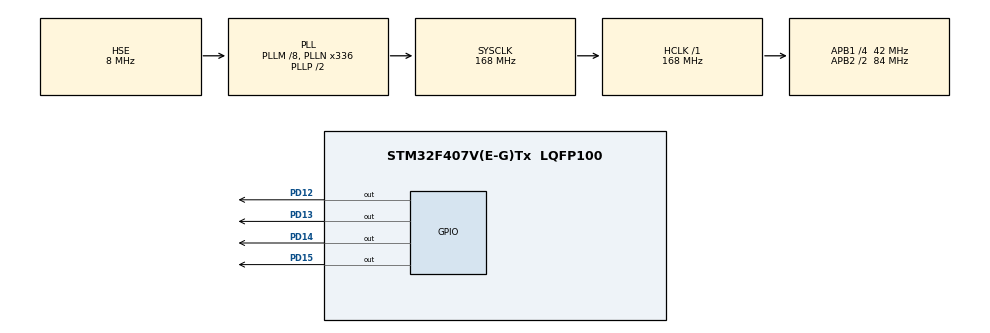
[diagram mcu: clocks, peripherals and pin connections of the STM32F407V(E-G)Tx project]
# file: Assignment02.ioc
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FREERTOS.Tasks01=defaultTask,-3,128,StartDefaultTask,Default,NULL,Dynamic,NULL,NULL
FREERTOS.configUSE_NEWLIB_REENTRANT=1
Mcu.Family=STM32F4
Mcu.Name=STM32F407V(E-G)Tx
Mcu.Package=LQFP100
NVIC.PriorityGroup=NVIC_PRIORITYGROUP_4
NVIC.TIM1_UP_TIM10_IRQn=true\:15\:0\:false\:false\:true\:false\:false\:true\:true
NVIC.TimeBase=TIM1_UP_TIM10_IRQn
NVIC.TimeBaseIP=TIM1
PD12.Signal=GPIO_Output
PD13.Signal=GPIO_Output
PD14.Signal=GPIO_Output
PD15.Signal=GPIO_Output
ProjectManager.HeapSize=0x200
ProjectManager.StackSize=0x400
ProjectManager.TargetToolchain=STM32CubeIDE
RCC.48MHZClocksFreq_Value=48000000
RCC.AHBFreq_Value=168000000
RCC.APB1CLKDivider=RCC_HCLK_DIV4
RCC.APB1Freq_Value=42000000
RCC.APB1TimFreq_Value=84000000
RCC.APB2CLKDivider=RCC_HCLK_DIV2
RCC.APB2Freq_Value=84000000
RCC.APB2TimFreq_Value=168000000
RCC.CortexFreq_Value=168000000
RCC.HCLKFreq_Value=168000000
RCC.HSE_VALUE=8000000
RCC.HSI_VALUE=16000000
RCC.LSE_VALUE=32768
RCC.PLLM=8
RCC.PLLN=336
RCC.PLLQ=7
RCC.PLLSourceVirtual=RCC_PLLSOURCE_HSE
RCC.SYSCLKFreq_VALUE=168000000
RCC.SYSCLKSource=RCC_SYSCLKSOURCE_PLLCLK
RCC.VCOOutputFreq_Value=336000000
VP_FREERTOS_VS_CMSIS_V1.Mode=CMSIS_V1
VP_SYS_VS_tim1.Mode=TIM1
board=STM32F407G-DISC1

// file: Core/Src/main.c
/* USER CODE BEGIN Header */
/**
  ******************************************************************************
  * @file           : main.c
  * @brief          : Main program body
  ******************************************************************************
  * @attention
  *
  * Copyright (c) 2024 STMicroelectronics.
  * All rights reserved.
  *
  * This software is licensed under terms that can be found in the LICENSE file
  * in the root directory of this software component.
  * If no LICENSE file comes with this software, it is provided AS-IS.
  *
  ******************************************************************************
  */
/* USER CODE END Header */
#include "main.h"
#include "cmsis_os.h"

/* USER CODE BEGIN Includes */
#include "task.h"
/* USER CODE END Includes */

osThreadId defaultTaskHandle;

void SystemClock_Config(void);
static void MX_GPIO_Init(void);
void StartDefaultTask(void const * argument);

/* USER CODE BEGIN 0 */
void vAperiodicLEDTask(void *pvParam)
{
	uint16_t pin=(uint16_t)pvParam;
	while(1)
	{
		HAL_GPIO_TogglePin(GPIOD,pin);
		vTaskDelay(1000 / portTICK_RATE_MS);
	}
	vTaskDelete(NULL);
}

/* USER CODE END 0 */

int main(void)
{

  /* USER CODE BEGIN 1 */
	BaseType_t ret;
  /* USER CODE END 1 */

  /* MCU Configuration--------------------------------------------------------*/

  /* Reset of all peripherals, Initializes the Flash interface and the Systick. */
  HAL_Init();

  /* Configure the system clock */
  SystemClock_Config();

  /* Initialize all configured peripherals */
  MX_GPIO_Init();
  /* USER CODE BEGIN 2 */
  ret = xTaskCreate(vAperiodicLEDTask, "AperiodicLED", configMINIMAL_STACK_SIZE,(void*)GPIO_PIN_12, 1, NULL);
  if(ret != pdTRUE)
	  Error_Handler();

  ret = xTaskCreate(vAperiodicLEDTask, "AperiodicLED", configMINIMAL_STACK_SIZE,(void*)GPIO_PIN_13, 2, NULL);
  if(ret != pdTRUE)
	  Error_Handler();

  ret = xTaskCreate(vAperiodicLEDTask, "AperiodicLED", configMINIMAL_STACK_SIZE,(void*)GPIO_PIN_14, 3, NULL);
  if(ret != pdTRUE)
       Error_Handler();

  ret = xTaskCreate(vAperiodicLEDTask, "AperiodicLED", configMINIMAL_STACK_SIZE, (void*)GPIO_PIN_15, 4, NULL);
  if(ret != pdTRUE)
	  Error_Handler();
  /* USER CODE END 2 */

  /* Create the thread(s) */
  /* definition and creation of defaultTask */
  osThreadDef(defaultTask, StartDefaultTask, osPriorityIdle, 0, 128);
  defaultTaskHandle = osThreadCreate(osThread(defaultTask), NULL);

  /* Start scheduler */
  osKernelStart();

  /* We should never get here as control is now taken by the scheduler */

  /* Infinite loop */
  while (1)
  {

  }
}

void SystemClock_Config(void)
{
  RCC_OscInitTypeDef RCC_OscInitStruct = {0};
  RCC_ClkInitTypeDef RCC_ClkInitStruct = {0};

  /** Configure the main internal regulator output voltage
  */
  __HAL_RCC_PWR_CLK_ENABLE();
  __HAL_PWR_VOLTAGESCALING_CONFIG(PWR_REGULATOR_VOLTAGE_SCALE1);

  /** Initializes the RCC Oscillators according to the specified parameters
  * in the RCC_OscInitTypeDef structure.
  */
  RCC_OscInitStruct.OscillatorType = RCC_OSCILLATORTYPE_HSE;
  RCC_OscInitStruct.HSEState = RCC_HSE_OFF;
  RCC_OscInitStruct.PLL.PLLState = RCC_PLL_ON;
  RCC_OscInitStruct.PLL.PLLSource = RCC_PLLSOURCE_HSE;
  RCC_OscInitStruct.PLL.PLLM = 8;
  RCC_OscInitStruct.PLL.PLLN = 336;
  RCC_OscInitStruct.PLL.PLLP = RCC_PLLP_DIV2;
  RCC_OscInitStruct.PLL.PLLQ = 7;
  if (HAL_RCC_OscConfig(&RCC_OscInitStruct) != HAL_OK)
  {
    Error_Handler();
  }

  /** Initializes the CPU, AHB and APB buses clocks
  */
  RCC_ClkInitStruct.ClockType = RCC_CLOCKTYPE_HCLK|RCC_CLOCKTYPE_SYSCLK
                              |RCC_CLOCKTYPE_PCLK1|RCC_CLOCKTYPE_PCLK2;
  RCC_ClkInitStruct.SYSCLKSource = RCC_SYSCLKSOURCE_PLLCLK;
  RCC_ClkInitStruct.AHBCLKDivider = RCC_SYSCLK_DIV1;
  RCC_ClkInitStruct.APB1CLKDivider = RCC_HCLK_DIV4;
  RCC_ClkInitStruct.APB2CLKDivider = RCC_HCLK_DIV2;

  if (HAL_RCC_ClockConfig(&RCC_ClkInitStruct, FLASH_LATENCY_5) != HAL_OK)
  {
    Error_Handler();
  }
}

static void MX_GPIO_Init(void)
{
  GPIO_InitTypeDef GPIO_InitStruct = {0};

  /* GPIO Ports Clock Enable */
  __HAL_RCC_GPIOD_CLK_ENABLE();

  /*Configure GPIO pin Output Level */
  HAL_GPIO_WritePin(GPIOD, GPIO_PIN_12|GPIO_PIN_13|GPIO_PIN_14|GPIO_PIN_15, GPIO_PIN_RESET);

  /*Configure GPIO pins : PD12 PD13 PD14 PD15 */
  GPIO_InitStruct.Pin = GPIO_PIN_12|GPIO_PIN_13|GPIO_PIN_14|GPIO_PIN_15;
  GPIO_InitStruct.Mode = GPIO_MODE_OUTPUT_PP;
  GPIO_InitStruct.Pull = GPIO_NOPULL;
  GPIO_InitStruct.Speed = GPIO_SPEED_FREQ_LOW;
  HAL_GPIO_Init(GPIOD, &GPIO_InitStruct);

}

void StartDefaultTask(void const * argument)
{
  for(;;)
  {
    osDelay(1);
  }
}

void HAL_TIM_PeriodElapsedCallback(TIM_HandleTypeDef *htim)
{
  if (htim->Instance == TIM1) {
    HAL_IncTick();
  }
}

void Error_Handler(void)
{
  __disable_irq();
  while (1)
  {
  }
}
